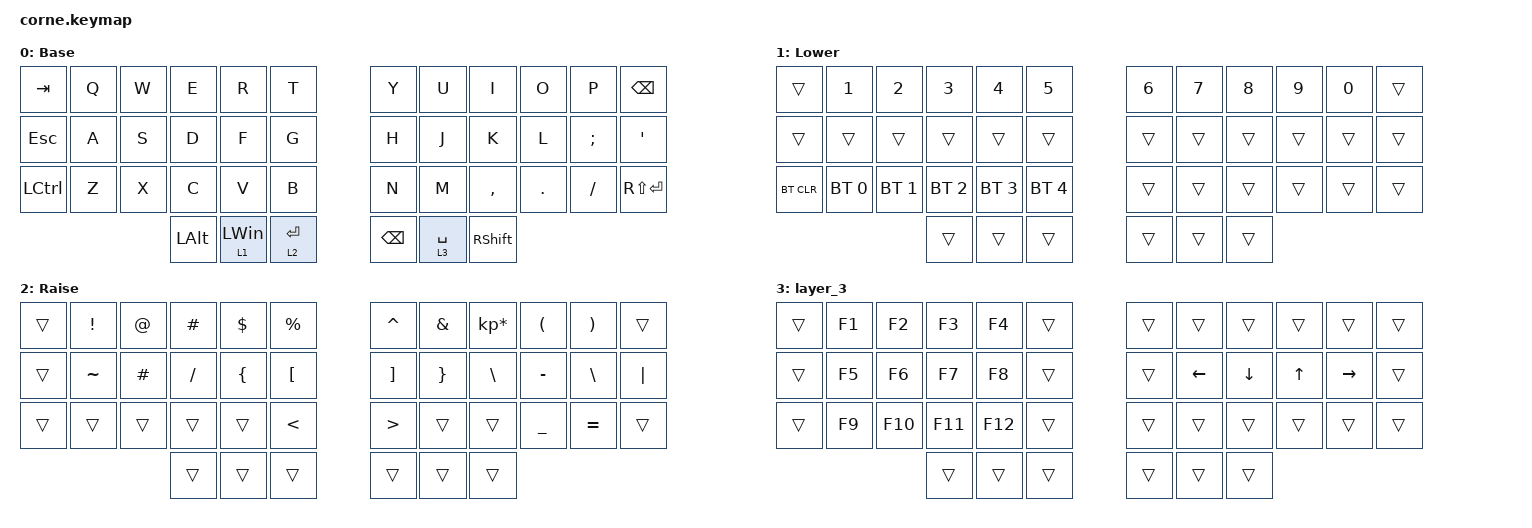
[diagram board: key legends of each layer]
/*
 * Copyright (c) 2020 The ZMK Contributors
 *
 * SPDX-License-Identifier: MIT
 */

#include <behaviors.dtsi>
#include <dt-bindings/zmk/bt.h>
#include <dt-bindings/zmk/keys.h>

/ {
    behaviors {
        Layer_Shift: Layer_Shift {
            compatible = "zmk,behavior-hold-tap";
            label = "LAYER_SHIFT";
            bindings = <&mo>, <&kp>;

            #binding-cells = <2>;
            tapping-term-ms = <250>;
            flavor = "tap-preferred";
            hold-trigger-key-positions = <39 38 40>;
        };
    };

    keymap {
        compatible = "zmk,keymap";

        default_layer {
            // -----------------------------------------------------------------------------------------
            // |  TAB |  Q  |  W  |  E  |  R  |  T  |   |  Y  |  U   |  I  |  O  |  P  | BKSP |
            // | CTRL |  A  |  S  |  D  |  F  |  G  |   |  H  |  J   |  K  |  L  |  ;  |  '   |
            // | SHFT |  Z  |  X  |  C  |  V  |  B  |   |  N  |  M   |  ,  |  .  |  /  | ESC  |
            //                    | GUI | LWR | SPC |   | ENT | RSE  | ALT |

            display-name = "Base";
            bindings = <
&kp TAB           &kp Q  &kp W  &kp E         &kp R                    &kp T                   &kp Y          &kp U                 &kp I       &kp O    &kp P     &kp BSPC
&kp ESCAPE        &kp A  &kp S  &kp D         &kp F                    &kp G                   &kp H          &kp J                 &kp K       &kp L    &kp SEMI  &kp APOS
&kp LEFT_CONTROL  &kp Z  &kp X  &kp C         &kp V                    &kp B                   &kp N          &kp M                 &kp COMMA   &kp DOT  &kp FSLH  &kp RS(ENTER)
                                &kp LEFT_ALT  &Layer_Shift 1 LEFT_WIN  &Layer_Shift 2 ENTER    &kp BACKSPACE  &Layer_Shift 3 SPACE  &kp RSHIFT
            >;
        };

        lower_layer {
            // -----------------------------------------------------------------------------------------
            // |  TAB |  1  |  2  |  3  |  4  |  5  |   |  6  |  7  |  8  |  9  |  0  | BKSP |
            // | BTCLR| BT1 | BT2 | BT3 | BT4 | BT5 |   | LFT | DWN |  UP | RGT |     |      |
            // | SHFT |     |     |     |     |     |   |     |     |     |     |     |      |
            //                    | GUI |     | SPC |   | ENT |     | ALT |

            display-name = "Lower";
            bindings = <
&trans      &kp N1        &kp N2        &kp N3        &kp N4        &kp N5          &kp N6  &kp N7  &kp N8  &kp N9  &kp N0  &trans
&trans      &trans        &trans        &trans        &trans        &trans          &trans  &trans  &trans  &trans  &trans  &trans
&bt BT_CLR  &bt BT_SEL 0  &bt BT_SEL 1  &bt BT_SEL 2  &bt BT_SEL 3  &bt BT_SEL 4    &trans  &trans  &trans  &trans  &trans  &trans
                                        &trans        &trans        &trans          &trans  &trans  &trans
            >;
        };

        raise_layer {
            // -----------------------------------------------------------------------------------------
            // |  TAB |  !  |  @  |  #  |  $  |  %  |   |  ^  |  &  |  *  |  (  |  )  | BKSP |
            // | CTRL |     |     |     |     |     |   |  -  |  =  |  [  |  ]  |  \  |  `   |
            // | SHFT |     |     |     |     |     |   |  _  |  +  |  {  |  }  | "|" |  ~   |
            //                    | GUI |     | SPC |   | ENT |     | ALT |

            display-name = "Raise";
            bindings = <
&trans  &kp EXCL   &kp AT     &kp HASH   &kp DLLR        &kp PRCNT           &kp CARET          &kp AMPS         &kp KP_MULTIPLY  &kp LPAR   &kp RPAR   &trans
&trans  &kp TILDE  &kp POUND  &kp SLASH  &kp LEFT_BRACE  &kp LEFT_BRACKET    &kp RIGHT_BRACKET  &kp RIGHT_BRACE  &kp BACKSLASH    &kp MINUS  &kp BSLH   &kp PIPE
&trans  &trans     &trans     &trans     &trans          &kp LESS_THAN       &kp GREATER_THAN   &trans           &trans           &kp UNDER  &kp EQUAL  &trans
                              &trans     &trans          &trans              &trans             &trans           &trans
            >;
        };

        layer_3 {
            bindings = <
&trans  &kp F1  &kp F2   &kp F3   &kp F4   &trans    &trans  &trans    &trans          &trans        &trans     &trans
&trans  &kp F5  &kp F6   &kp F7   &kp F8   &trans    &trans  &kp LEFT  &kp DOWN_ARROW  &kp UP_ARROW  &kp RIGHT  &trans
&trans  &kp F9  &kp F10  &kp F11  &kp F12  &trans    &trans  &trans    &trans          &trans        &trans     &trans
                         &trans   &trans   &trans    &trans  &trans    &trans
            >;
        };
    };
};
